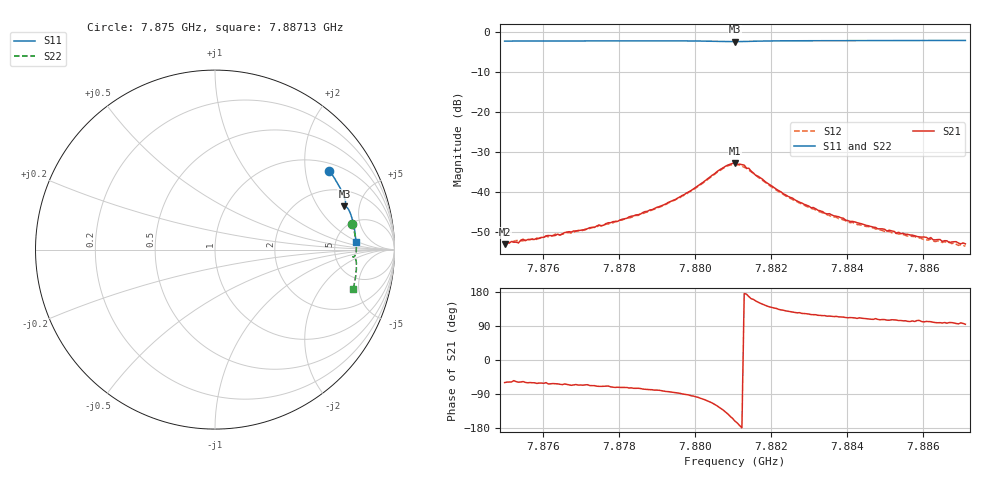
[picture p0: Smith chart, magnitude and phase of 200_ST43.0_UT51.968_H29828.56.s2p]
#  HZ  S  DB  R  50.00
! Rohde & Schwarz Vector Network Analyzer
! Rohde-Schwarz,ZNB20-2Port,1311601062101988,3.16
! Created: UTC 1/12/2023, 6:44:15 PM
! freq[Hz]  db:S11  ang:S11  db:S21  ang:S21  db:S12  ang:S12  db:S22  ang:S22
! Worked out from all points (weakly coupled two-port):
!   201 points, 7.875 GHz to 7.88713 GHz, reference 50 ohm
!   highest |S21| = -32.79 dB at 7.88106 GHz (marker M1); lowest = -53.0 dB at 7.875 GHz (marker M2)
!   lowest |S11| = -2.4 dB at 7.88106 GHz (marker M3), VSWR 7.35, Z = 155 + j177 ohm
!   |S11| at or under -10 dB: nowhere
!   |S22| runs from -2.3 to -1.9 dB; largest |S21 - S12| = 0.0018
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7.874995e9  -2.24 34.5  -53.00 -59.6  -52.65 -60.5  -2.17 10.6
7.875177e9  -2.23 34.0  -52.31 -58.0  -52.37 -60.1  -2.16 10.2
7.875359e9  -2.23 33.5  -52.67 -58.6  -52.09 -63.9  -2.16 9.8
7.87548e9  -2.23 33.2  -51.72 -57.0  -52.13 -61.6  -2.16 9.5
7.875784e9  -2.22 32.4  -51.80 -60.1  -52.02 -63.5  -2.15 8.8
7.87633e9  -2.21 30.8  -50.79 -62.6  -50.46 -66.0  -2.13 7.5
7.877057e9  -2.20 28.9  -49.41 -66.5  -49.53 -69.3  -2.11 5.8
7.877967e9  -2.19 26.4  -47.30 -71.8  -47.23 -75.8  -2.09 3.7
7.879059e9  -2.18 23.3  -43.62 -79.8  -43.75 -83.6  -2.08 1.0
7.879787e9  -2.20 21.2  -40.15 -91.3  -40.43 -94.4  -2.09 -0.7
7.880818e9  -2.35 18.6  -33.47 -137.7  -33.65 -141.2  -2.23 -3.0
7.881061e9  -2.38 18.5  -32.79 -161.5  -33.03 -164.1  -2.27 -3.0
7.881303e9  -2.34 18.4  -33.22 175.6  -33.76 173.1  -2.24 -3.0
7.881606e9  -2.26 17.9  -35.79 155.8  -35.70 152.0  -2.16 -3.3
7.882334e9  -2.16 15.8  -40.40 131.4  -40.55 127.2  -2.04 -5.0
7.883123e9  -2.14 13.6  -43.82 119.7  -44.18 116.9  -2.01 -6.9
7.884033e9  -2.12 11.1  -47.09 111.3  -47.48 109.2  -1.98 -9.1
7.885124e9  -2.10 8.2  -49.47 105.0  -49.80 102.3  -1.96 -11.5
7.886034e9  -2.09 5.8  -51.18 100.5  -51.86 99.1  -1.95 -13.5
7.886216e9  -2.09 5.4  -51.33 101.0  -51.64 99.0  -1.95 -13.9
7.886277e9  -2.09 5.2  -51.89 99.7  -52.19 97.6  -1.94 -14.0
7.887126e9  -2.08 3.0  -52.89 94.4  -53.47 92.5  -1.94 -15.8
